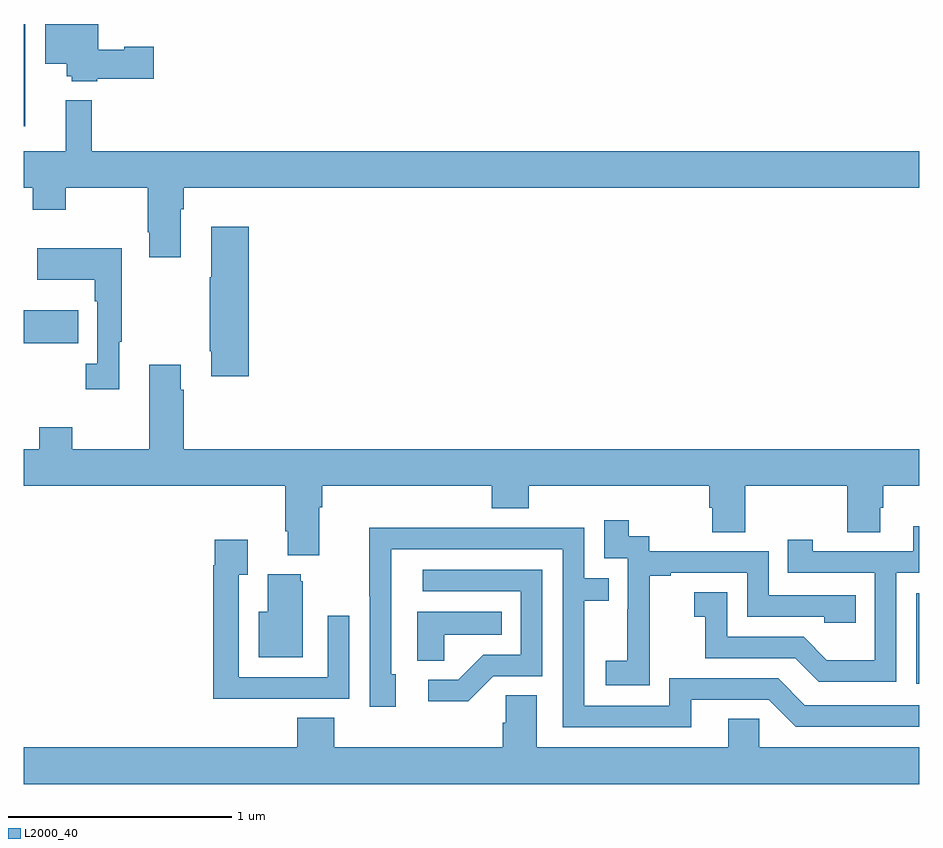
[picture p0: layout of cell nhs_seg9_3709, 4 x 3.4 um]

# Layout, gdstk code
import gdstk
lib = gdstk.Library(unit=1e-6, precision=1e-09)
def R(c, l, rs):  # rectangles x0, y0, x1, y1
    for r in rs: c.add(gdstk.rectangle(r[:2], r[2:], *l))
def P(c, l, *ps):  # polygons
    for p in ps: c.add(gdstk.Polygon(p, *l))
L2000_40 = (2000, 40)

nhs_seg9_3709 = lib.new_cell('nhs_seg9_3709')
R(nhs_seg9_3709, L2000_40, [(326.988,1179.552,327,1179.957), (323,1181.074,323.243,1181.221), (323,1182.042,323.007,1182.5)])
P(nhs_seg9_3709, L2000_40, [(323.328,1182.256),(323.581,1182.256),(323.581,1182.398),(323.448,1182.398),(323.448,1182.385),(323.332,1182.385),(323.332,1182.5),(323.096,1182.5),(323.096,1182.323),(323.192,1182.323),(323.192,1182.267),(323.214,1182.267),(323.214,1182.245),(323.328,1182.245)],
  [(323.701,1181.672),(323.714,1181.672),(323.714,1181.768),(327,1181.768),(327,1181.932),(323.303,1181.932),(323.303,1182.16),(323.186,1182.16),(323.186,1181.932),(323,1181.932),(323,1181.768),(323.04,1181.768),(323.04,1181.669),(323.187,1181.669),(323.187,1181.768),(323.554,1181.768),(323.554,1181.569),(323.561,1181.569),(323.561,1181.457),(323.701,1181.457)],
  [(324.005,1181.593),(323.837,1181.593),(323.837,1181.369),(323.83,1181.369),(323.83,1181.038),(323.837,1181.038),(323.837,1180.926),(324.005,1180.926)],
  [(323.425,1181.081),(323.437,1181.081),(323.437,1181.497),(323.059,1181.497),(323.059,1181.357),(323.316,1181.357),(323.316,1181.261),(323.328,1181.261),(323.328,1180.982),(323.277,1180.982),(323.277,1180.869),(323.425,1180.869)],
  [(324.319,1180.34),(324.332,1180.34),(324.332,1180.436),(325.091,1180.436),(325.091,1180.337),(325.256,1180.337),(325.256,1180.436),(326.063,1180.436),(326.063,1180.338),(326.075,1180.338),(326.075,1180.228),(326.223,1180.228),(326.223,1180.436),(326.68,1180.436),(326.68,1180.228),(326.827,1180.228),(326.827,1180.338),(326.84,1180.338),(326.84,1180.436),(327,1180.436),(327,1180.6),(323.714,1180.6),(323.714,1180.865),(323.701,1180.865),(323.701,1180.978),(323.561,1180.978),(323.561,1180.6),(323.217,1180.6),(323.217,1180.699),(323.069,1180.699),(323.069,1180.6),(323,1180.6),(323,1180.436),(324.167,1180.436),(324.167,1180.234),(324.179,1180.234),(324.179,1180.127),(324.319,1180.127)],
  [(325.797,1179.751),(325.796,1179.751),(325.796,1180.035),(325.891,1180.035),(325.891,1180.047),(326.232,1180.047),(326.232,1179.852),(326.577,1179.852),(326.577,1179.825),(326.717,1179.825),(326.717,1179.948),(326.328,1179.948),(326.328,1180.143),(325.794,1180.143),(325.794,1180.212),(325.702,1180.212),(325.702,1180.282),(325.593,1180.282),(325.593,1180.113),(325.698,1180.113),(325.698,1179.884),(325.697,1179.884),(325.697,1179.655),(325.599,1179.655),(325.599,1179.545),(325.797,1179.545)],
  [(326.898,1180.047),(327,1180.047),(327,1180.255),(326.975,1180.255),(326.975,1180.143),(326.524,1180.143),(326.524,1180.195),(326.413,1180.195),(326.413,1180.047),(326.802,1180.047),(326.802,1179.658),(326.588,1179.658),(326.484,1179.762),(326.142,1179.762),(326.142,1179.961),(325.995,1179.961),(325.995,1179.851),(326.044,1179.851),(326.044,1179.666),(326.447,1179.666),(326.552,1179.561),(326.898,1179.561)],
  [(325.981,1179.48),(326.328,1179.48),(326.448,1179.36),(327,1179.36),(327,1179.456),(326.49,1179.456),(326.37,1179.576),(325.884,1179.576),(325.884,1179.453),(325.503,1179.453),(325.503,1179.922),(325.613,1179.922),(325.613,1180.023),(325.503,1180.023),(325.503,1180.248),(325.007,1180.248),(325.007,1180.25),(324.544,1180.25),(324.544,1179.943),(324.546,1179.943),(324.546,1179.45),(324.661,1179.45),(324.661,1179.594),(324.642,1179.594),(324.642,1180.152),(325.407,1180.152),(325.407,1179.357),(325.981,1179.357)],
  [(324.137,1179.486),(324.453,1179.486),(324.453,1179.856),(324.357,1179.856),(324.357,1179.582),(323.961,1179.582),(323.961,1180.039),(324.001,1180.039),(324.001,1180.195),(323.853,1180.195),(323.853,1180.082),(323.845,1180.082),(323.845,1179.485),(324.137,1179.485)],
  [(325.098,1179.585),(325.317,1179.585),(325.317,1180.062),(324.783,1180.062),(324.783,1179.966),(325.221,1179.966),(325.221,1179.681),(325.052,1179.681),(324.941,1179.57),(324.807,1179.57),(324.807,1179.473),(324.985,1179.473)],
  [(324.247,1180.011),(324.236,1180.011),(324.236,1180.042),(324.089,1180.042),(324.089,1179.874),(324.05,1179.874),(324.05,1179.671),(324.247,1179.671)],
  [(324.879,1179.77),(325.136,1179.77),(325.136,1179.874),(324.758,1179.874),(324.758,1179.655),(324.879,1179.655)],
  [(327,1179.268),(326.286,1179.268),(326.286,1179.395),(326.147,1179.395),(326.147,1179.268),(325.291,1179.268),(325.291,1179.5),(325.152,1179.5),(325.152,1179.377),(325.139,1179.377),(325.139,1179.268),(324.386,1179.268),(324.386,1179.401),(324.221,1179.401),(324.221,1179.268),(323,1179.268),(323,1179.104),(327,1179.104)])

lib.write_gds('nhs_seg9_3709.gds')
